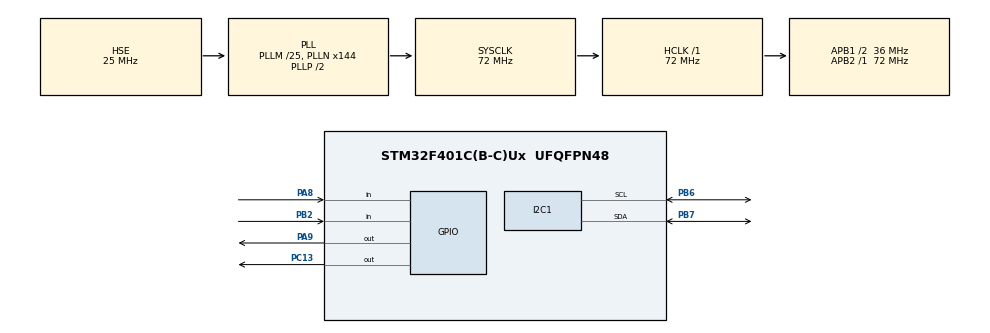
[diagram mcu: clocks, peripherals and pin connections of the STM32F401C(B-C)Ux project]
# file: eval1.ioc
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I2C1.I2C_Mode=I2C_Fast
Mcu.Family=STM32F4
Mcu.Name=STM32F401C(B-C)Ux
Mcu.Package=UFQFPN48
NVIC.PriorityGroup=NVIC_PRIORITYGROUP_4
NVIC.TIM2_IRQn=true\:15\:0\:false\:false\:true\:false\:true\:true
NVIC.TimeBase=TIM2_IRQn
NVIC.TimeBaseIP=TIM2
PA13.Mode=Serial_Wire
PA13.Signal=SYS_JTMS-SWDIO
PA14.Mode=Serial_Wire
PA14.Signal=SYS_JTCK-SWCLK
PA8.Signal=GPIO_Input
PA9.Signal=GPIO_Output
PB2.Signal=GPIO_Input
PB6.Mode=I2C
PB6.Signal=I2C1_SCL
PB7.Mode=I2C
PB7.Signal=I2C1_SDA
PC13-ANTI_TAMP.Signal=GPIO_Output
PH0\ -\ OSC_IN.Mode=HSE-External-Oscillator
PH0\ -\ OSC_IN.Signal=RCC_OSC_IN
PH1\ -\ OSC_OUT.Mode=HSE-External-Oscillator
PH1\ -\ OSC_OUT.Signal=RCC_OSC_OUT
ProjectManager.HeapSize=0x200
ProjectManager.StackSize=0x400
ProjectManager.TargetToolchain=STM32CubeIDE
RCC.48MHZClocksFreq_Value=36000000
RCC.AHBFreq_Value=72000000
RCC.APB1CLKDivider=RCC_HCLK_DIV2
RCC.APB1Freq_Value=36000000
RCC.APB1TimFreq_Value=72000000
RCC.APB2Freq_Value=72000000
RCC.APB2TimFreq_Value=72000000
RCC.CortexFreq_Value=72000000
RCC.HCLKFreq_Value=72000000
RCC.HSE_VALUE=25000000
RCC.HSI_VALUE=16000000
RCC.LSE_VALUE=32768
RCC.PLLM=25
RCC.PLLN=144
RCC.PLLSourceVirtual=RCC_PLLSOURCE_HSE
RCC.SYSCLKFreq_VALUE=72000000
RCC.SYSCLKSource=RCC_SYSCLKSOURCE_PLLCLK
RCC.VCOOutputFreq_Value=144000000
TIM1.Prescaler=71
VP_SYS_VS_tim2.Mode=TIM2
VP_TIM1_VS_ClockSourceINT.Mode=Internal
board=custom

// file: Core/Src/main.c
/* USER CODE BEGIN Header */
/**
  ******************************************************************************
  * @file           : main.c
  * @brief          : Main program body
  ******************************************************************************
  * @attention
  *
  * Copyright (c) 2024 STMicroelectronics.
  * All rights reserved.
  *
  * This software is licensed under terms that can be found in the LICENSE file
  * in the root directory of this software component.
  * If no LICENSE file comes with this software, it is provided AS-IS.
  *
  ******************************************************************************
  */
/* USER CODE END Header */
#include "main.h"

/* USER CODE BEGIN Includes */
#include "stdio.h"
#include "FreeRTOS.h"
#include "task.h"
#include "queue.h"
#include "fonts.h"
#include "ssd1306.h"
/* USER CODE END Includes */

/* USER CODE BEGIN PD */
#define TASK_STACK_SIZE 128  // Reduced stack size for tasks
#define DISTANCE_QUEUE_SIZE 1 // Queue size of 1 for single distance value

/* USER CODE END PD */

I2C_HandleTypeDef hi2c1;
TIM_HandleTypeDef htim1;

/* USER CODE BEGIN PV */
#define TRIG_PIN GPIO_PIN_9
#define TRIG_PORT GPIOA
#define ECHO_PIN GPIO_PIN_8
#define ECHO_PORT GPIOA

uint32_t pMillis;
uint32_t Value1 = 0;
uint32_t Value2 = 0;
uint16_t Distance = 0;  // cm
char strCopy[15];

// Queue handle
QueueHandle_t distanceQueue;

/* USER CODE END PV */

void SystemClock_Config(void);
static void MX_GPIO_Init(void);
static void MX_I2C1_Init(void);
static void MX_TIM1_Init(void);
/* USER CODE BEGIN PFP */
static void task1_handler(void* parameters);
static void task2_handler(void* parameters);
/* USER CODE END PFP */

int main(void)
{

  /* USER CODE BEGIN 1 */
  TaskHandle_t task1_handle;
  TaskHandle_t task2_handle;
  BaseType_t status;
  /* USER CODE END 1 */

  /* MCU Configuration--------------------------------------------------------*/

  /* Reset of all peripherals, Initializes the Flash interface and the Systick. */
  HAL_Init();

  /* Configure the system clock */
  SystemClock_Config();

  /* Initialize all configured peripherals */
  MX_GPIO_Init();
  MX_I2C1_Init();
  MX_TIM1_Init();
  /* USER CODE BEGIN 2 */
  HAL_TIM_Base_Start(&htim1);
  HAL_GPIO_WritePin(TRIG_PORT, TRIG_PIN, GPIO_PIN_RESET);  // pull the TRIG pin low
  SSD1306_Init();

  // Create the queue
  distanceQueue = xQueueCreate(DISTANCE_QUEUE_SIZE, sizeof(uint16_t));
  if (distanceQueue == NULL) {
    // Handle queue creation failure
    Error_Handler();
  }

  status = xTaskCreate(task1_handler, "task 1", TASK_STACK_SIZE, NULL, 2, &task1_handle);
  configASSERT(status == pdPASS);

  status = xTaskCreate(task2_handler, "task 2", TASK_STACK_SIZE, NULL, 1, &task2_handle);
  configASSERT(status == pdPASS);

  // Start the FreeRTOS scheduler
  vTaskStartScheduler();

  // If the control comes here, then the launch of the scheduler has failed due to
  // insufficient memory in heap
  /* USER CODE END 2 */

  /* Infinite loop */
  while (1)
  {

  }
}

void SystemClock_Config(void)
{
  RCC_OscInitTypeDef RCC_OscInitStruct = {0};
  RCC_ClkInitTypeDef RCC_ClkInitStruct = {0};

  /** Configure the main internal regulator output voltage
  */
  __HAL_RCC_PWR_CLK_ENABLE();
  __HAL_PWR_VOLTAGESCALING_CONFIG(PWR_REGULATOR_VOLTAGE_SCALE2);

  /** Initializes the RCC Oscillators according to the specified parameters
  * in the RCC_OscInitTypeDef structure.
  */
  RCC_OscInitStruct.OscillatorType = RCC_OSCILLATORTYPE_HSE;
  RCC_OscInitStruct.HSEState = RCC_HSE_ON;
  RCC_OscInitStruct.PLL.PLLState = RCC_PLL_ON;
  RCC_OscInitStruct.PLL.PLLSource = RCC_PLLSOURCE_HSE;
  RCC_OscInitStruct.PLL.PLLM = 25;
  RCC_OscInitStruct.PLL.PLLN = 144;
  RCC_OscInitStruct.PLL.PLLP = RCC_PLLP_DIV2;
  RCC_OscInitStruct.PLL.PLLQ = 4;
  if (HAL_RCC_OscConfig(&RCC_OscInitStruct) != HAL_OK)
  {
    Error_Handler();
  }

  /** Initializes the CPU, AHB and APB buses clocks
  */
  RCC_ClkInitStruct.ClockType = RCC_CLOCKTYPE_HCLK|RCC_CLOCKTYPE_SYSCLK
                              |RCC_CLOCKTYPE_PCLK1|RCC_CLOCKTYPE_PCLK2;
  RCC_ClkInitStruct.SYSCLKSource = RCC_SYSCLKSOURCE_PLLCLK;
  RCC_ClkInitStruct.AHBCLKDivider = RCC_SYSCLK_DIV1;
  RCC_ClkInitStruct.APB1CLKDivider = RCC_HCLK_DIV2;
  RCC_ClkInitStruct.APB2CLKDivider = RCC_HCLK_DIV1;

  if (HAL_RCC_ClockConfig(&RCC_ClkInitStruct, FLASH_LATENCY_2) != HAL_OK)
  {
    Error_Handler();
  }
}

static void MX_I2C1_Init(void)
{

  hi2c1.Instance = I2C1;
  hi2c1.Init.ClockSpeed = 400000;
  hi2c1.Init.DutyCycle = I2C_DUTYCYCLE_2;
  hi2c1.Init.OwnAddress1 = 0;
  hi2c1.Init.AddressingMode = I2C_ADDRESSINGMODE_7BIT;
  hi2c1.Init.DualAddressMode = I2C_DUALADDRESS_DISABLE;
  hi2c1.Init.OwnAddress2 = 0;
  hi2c1.Init.GeneralCallMode = I2C_GENERALCALL_DISABLE;
  hi2c1.Init.NoStretchMode = I2C_NOSTRETCH_DISABLE;
  if (HAL_I2C_Init(&hi2c1) != HAL_OK)
  {
    Error_Handler();
  }

}

static void MX_TIM1_Init(void)
{

  TIM_ClockConfigTypeDef sClockSourceConfig = {0};
  TIM_MasterConfigTypeDef sMasterConfig = {0};

  htim1.Instance = TIM1;
  htim1.Init.Prescaler = 71;
  htim1.Init.CounterMode = TIM_COUNTERMODE_UP;
  htim1.Init.Period = 65535;
  htim1.Init.ClockDivision = TIM_CLOCKDIVISION_DIV1;
  htim1.Init.RepetitionCounter = 0;
  htim1.Init.AutoReloadPreload = TIM_AUTORELOAD_PRELOAD_DISABLE;
  if (HAL_TIM_Base_Init(&htim1) != HAL_OK)
  {
    Error_Handler();
  }
  sClockSourceConfig.ClockSource = TIM_CLOCKSOURCE_INTERNAL;
  if (HAL_TIM_ConfigClockSource(&htim1, &sClockSourceConfig) != HAL_OK)
  {
    Error_Handler();
  }
  sMasterConfig.MasterOutputTrigger = TIM_TRGO_RESET;
  sMasterConfig.MasterSlaveMode = TIM_MASTERSLAVEMODE_DISABLE;
  if (HAL_TIMEx_MasterConfigSynchronization(&htim1, &sMasterConfig) != HAL_OK)
  {
    Error_Handler();
  }

}

static void MX_GPIO_Init(void)
{
  GPIO_InitTypeDef GPIO_InitStruct = {0};

  /* GPIO Ports Clock Enable */
  __HAL_RCC_GPIOC_CLK_ENABLE();
  __HAL_RCC_GPIOH_CLK_ENABLE();
  __HAL_RCC_GPIOB_CLK_ENABLE();
  __HAL_RCC_GPIOA_CLK_ENABLE();

  /*Configure GPIO pin Output Level */
  HAL_GPIO_WritePin(GPIOC, GPIO_PIN_13, GPIO_PIN_RESET);

  /*Configure GPIO pin Output Level */
  HAL_GPIO_WritePin(GPIOA, GPIO_PIN_9, GPIO_PIN_RESET);

  /*Configure GPIO pin : PC13 */
  GPIO_InitStruct.Pin = GPIO_PIN_13;
  GPIO_InitStruct.Mode = GPIO_MODE_OUTPUT_PP;
  GPIO_InitStruct.Pull = GPIO_NOPULL;
  GPIO_InitStruct.Speed = GPIO_SPEED_FREQ_LOW;
  HAL_GPIO_Init(GPIOC, &GPIO_InitStruct);

  /*Configure GPIO pin : PB2 */
  GPIO_InitStruct.Pin = GPIO_PIN_2;
  GPIO_InitStruct.Mode = GPIO_MODE_INPUT;
  GPIO_InitStruct.Pull = GPIO_NOPULL;
  HAL_GPIO_Init(GPIOB, &GPIO_InitStruct);

  /*Configure GPIO pin : PA8 */
  GPIO_InitStruct.Pin = GPIO_PIN_8;
  GPIO_InitStruct.Mode = GPIO_MODE_INPUT;
  GPIO_InitStruct.Pull = GPIO_NOPULL;
  HAL_GPIO_Init(GPIOA, &GPIO_InitStruct);

  /*Configure GPIO pin : PA9 */
  GPIO_InitStruct.Pin = GPIO_PIN_9;
  GPIO_InitStruct.Mode = GPIO_MODE_OUTPUT_PP;
  GPIO_InitStruct.Pull = GPIO_NOPULL;
  GPIO_InitStruct.Speed = GPIO_SPEED_FREQ_LOW;
  HAL_GPIO_Init(GPIOA, &GPIO_InitStruct);

}

/* USER CODE BEGIN 4 */
extern uint16_t Distance;
static void task1_handler(void* parameters) {
    while (1) {
        HAL_GPIO_WritePin(TRIG_PORT, TRIG_PIN, GPIO_PIN_SET);  // pull the TRIG pin HIGH
        __HAL_TIM_SET_COUNTER(&htim1, 0);
        while (__HAL_TIM_GET_COUNTER(&htim1) < 10);  // wait for 10 us
        HAL_GPIO_WritePin(TRIG_PORT, TRIG_PIN, GPIO_PIN_RESET);  // pull the TRIG pin low

        pMillis = HAL_GetTick(); // used this to avoid infinite while loop  (for timeout)
        // wait for the echo pin to go high
        while (!(HAL_GPIO_ReadPin(ECHO_PORT, ECHO_PIN)) && pMillis + 10 > HAL_GetTick());
        Value1 = __HAL_TIM_GET_COUNTER(&htim1);

        pMillis = HAL_GetTick(); // used this to avoid infinite while loop (for timeout)
        // wait for the echo pin to go low
        while ((HAL_GPIO_ReadPin(ECHO_PORT, ECHO_PIN)) && pMillis + 50 > HAL_GetTick());
        Value2 = __HAL_TIM_GET_COUNTER(&htim1);

        Distance = (Value2 - Value1) * 0.034 / 2;

        // Send distance value to the queue
        xQueueSend(distanceQueue, &Distance, portMAX_DELAY);

        //HAL_Delay(50);
    }
}

static void task2_handler(void* parameters) {
    uint16_t receivedDistance;
    while (1) {
        // Receive distance value from the queue
        if (xQueueReceive(distanceQueue, &receivedDistance, portMAX_DELAY) == pdPASS) {
            // Display the distance
            SSD1306_GotoXY(0, 0);
            SSD1306_Puts("Distance:", &Font_11x18, 1);
            sprintf(strCopy, "%d    ", receivedDistance);
            SSD1306_GotoXY(0, 30);
            SSD1306_Puts(strCopy, &Font_16x26, 1);
            SSD1306_UpdateScreen();
        }
        HAL_Delay(50);
    }
}
/* USER CODE END 4 */

void HAL_TIM_PeriodElapsedCallback(TIM_HandleTypeDef *htim)
{
  if (htim->Instance == TIM2) {
    HAL_IncTick();
  }
}

void Error_Handler(void)
{
  __disable_irq();
  while (1)
  {
  }
}
